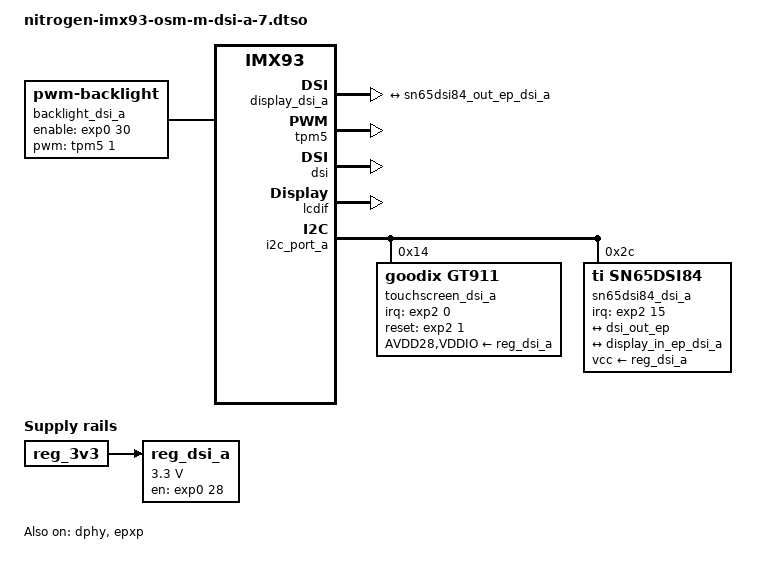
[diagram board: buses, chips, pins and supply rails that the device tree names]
// SPDX-License-Identifier: (GPL-2.0-or-later OR MIT)
/*
 * DSI A display Expansion Board with BD070LIC3 display for Nitrogen i.MX93 OSM-M
 *
 * Copyright 2026 Ezurio LLC
 */

/dts-v1/;
/plugin/;

#include <dt-bindings/gpio/gpio.h>
#include <dt-bindings/interrupt-controller/irq.h>

#include "nitrogen-imx93-bd-panel.dtsi"

&{/} {
	backlight_dsi_a: backlight-dsi-a {
		brightness-levels = <0 1 2 3 4 5 6 7 8 9 10>;
		compatible = "pwm-backlight";
		default-brightness-level = <8>;

		pwms = <&tpm5 1 30000 0>; /* 33.3 kHz */
		enable-gpios = <&exp0 30 GPIO_ACTIVE_HIGH>; /* DSI_A_BL_EN / GPIO_C_5 */
	};

	reg_dsi_a: regulator-dsi-a {
		compatible = "regulator-fixed";
		regulator-name = "reg_dsi_a";
		regulator-min-microvolt = <3300000>;
		regulator-max-microvolt = <3300000>;

		vin-supply = <&reg_3v3>;
		gpio = <&exp0 28 GPIO_ACTIVE_HIGH>; /* DSI_A_VDD_EN / GPIO_C_4 */
		enable-active-high;
		startup-delay-us = <30000>;
	};

	display_dsi_a: display-dsi-a {
		compatible = "panel-lvds";
		data-mapping = "vesa-24";

		power-supply = <&reg_dsi_a>;
		backlight = <&backlight_dsi_a>;

		width-mm = <150>;
		height-mm = <94>;

		panel-timing {
			BD_PANEL_TIMING
		};

		port {
			display_in_ep_dsi_a: endpoint {
				remote-endpoint = <&sn65dsi84_out_ep_dsi_a>;
			};
		};
	};

	display-subsystem {
		status = "okay";
	};
};

&dsi_out_ep {
	remote-endpoint = <&sn65dsi84_in_ep_dsi_a>;
};

&tpm5 { /* DSI / DISP_PWM0 backlight */
	status = "okay";
};

&dphy {
	status = "okay";
};

&dsi {
	status = "okay";
};

&epxp {
	status = "okay";
};

&lcdif {
	assigned-clock-rates = <504000000>, <72000000>, <400000000>, <133333333>;
	status = "okay";
};

&i2c_port_a {
	#address-cells = <1>;
	#size-cells = <0>;

	touchscreen_dsi_a: touchscreen-dsi-a@14 {
		compatible = "goodix,gt911";
		reg = <0x14>;

		AVDD28-supply = <&reg_dsi_a>;
		VDDIO-supply = <&reg_dsi_a>;

		interrupts-extended = <&exp2 0 IRQ_TYPE_EDGE_FALLING>;
		interrupt-names = "irq";
		irq-gpios = <&exp2 0 (GPIO_ACTIVE_HIGH | GPIO_PULL_UP)>;
		reset-gpios = <&exp2 1 GPIO_ACTIVE_HIGH>;

		touchscreen-min-x = <0>;
		touchscreen-min-y = <0>;
		touchscreen-size-x = <1280>;
		touchscreen-size-y = <800>;
	};

	sn65dsi84_dsi_a: sn65dsi84-dsi-a@2c {
		compatible = "ti,sn65dsi84";
		reg = <0x2c>;

		interrupts-extended = <&exp2 15 IRQ_TYPE_EDGE_FALLING>;
		interrupt-names = "irq";

		vcc-supply = <&reg_dsi_a>;

		ports {
			#address-cells = <1>;
			#size-cells = <0>;

			port@0 {
				reg = <0>;

				sn65dsi84_in_ep_dsi_a: endpoint {
					remote-endpoint = <&dsi_out_ep>;
					data-lanes = <1 2 3 4>;
					clock-lanes = <0>;
				};
			};

			port@2 {
				reg = <2>;

				sn65dsi84_out_ep_dsi_a: endpoint {
					remote-endpoint = <&display_in_ep_dsi_a>;
				};
			};
		};
	};
};
